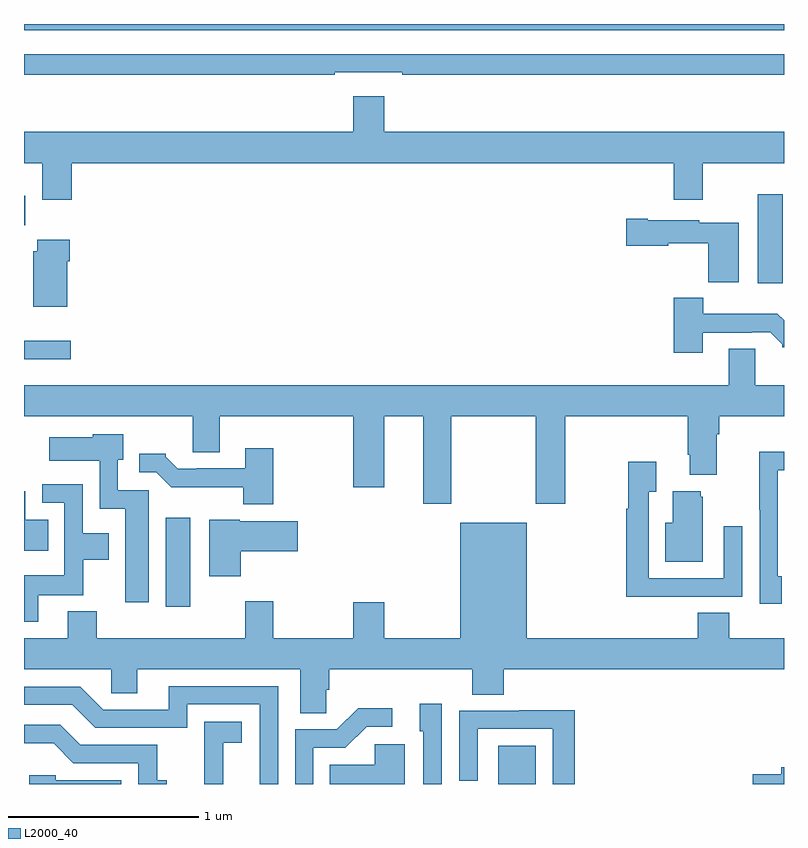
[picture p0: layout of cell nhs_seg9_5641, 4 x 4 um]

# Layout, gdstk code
import gdstk
lib = gdstk.Library(unit=1e-6, precision=1e-09)
def R(c, l, rs):  # rectangles x0, y0, x1, y1
    for r in rs: c.add(gdstk.rectangle(r[:2], r[2:], *l))
def P(c, l, *ps):  # polygons
    for p in ps: c.add(gdstk.Polygon(p, *l))
L2000_40 = (2000, 40)

nhs_seg9_5641 = lib.new_cell('nhs_seg9_5641')
R(nhs_seg9_5641, L2000_40, [(441.497,1178.5,441.694,1178.701), (439.745,1179.432,439.876,1179.901), (439,1180.736,439.246,1180.833), (442.862,1181.136,442.993,1181.605), (439,1181.442,439.006,1181.596), (439,1182.468,443,1182.5)])
P(nhs_seg9_5641, L2000_40, [(440.636,1182.246),(440.992,1182.246),(440.992,1182.234),(443,1182.234),(443,1182.342),(439,1182.342),(439,1182.234),(440.636,1182.234)],
  [(439.25,1181.768),(442.421,1181.768),(442.421,1181.574),(442.573,1181.574),(442.573,1181.768),(443,1181.768),(443,1181.932),(440.896,1181.932),(440.896,1182.121),(440.732,1182.121),(440.732,1181.932),(439,1181.932),(439,1181.768),(439.097,1181.768),(439.097,1181.574),(439.25,1181.574)],
  [(442.762,1181.455),(442.554,1181.455),(442.554,1181.467),(442.282,1181.467),(442.282,1181.475),(442.17,1181.475),(442.17,1181.333),(442.392,1181.333),(442.392,1181.345),(442.6,1181.345),(442.6,1181.141),(442.762,1181.141)],
  [(439.228,1181.252),(439.241,1181.252),(439.241,1181.365),(439.07,1181.365),(439.07,1181.304),(439.049,1181.304),(439.049,1181.012),(439.228,1181.012)],
  [(442.573,1180.875),(442.829,1180.875),(442.829,1180.878),(442.928,1180.878),(442.992,1180.814),(442.992,1180.799),(443,1180.799),(443,1180.94),(442.965,1180.975),(442.576,1180.975),(442.576,1181.059),(442.421,1181.059),(442.421,1180.77),(442.573,1180.77)],
  [(441.249,1180.436),(441.694,1180.436),(441.694,1179.975),(441.849,1179.975),(441.849,1180.436),(442.493,1180.436),(442.493,1180.234),(442.505,1180.234),(442.505,1180.127),(442.645,1180.127),(442.645,1180.34),(442.658,1180.34),(442.658,1180.436),(443,1180.436),(443,1180.6),(442.849,1180.6),(442.849,1180.79),(442.709,1180.79),(442.709,1180.6),(439,1180.6),(439,1180.436),(439.889,1180.436),(439.889,1180.246),(440.029,1180.246),(440.029,1180.436),(440.732,1180.436),(440.732,1180.062),(440.896,1180.062),(440.896,1180.436),(441.101,1180.436),(441.101,1179.975),(441.249,1179.975)],
  [(439.657,1180.047),(439.494,1180.047),(439.494,1180.206),(439.522,1180.206),(439.522,1180.342),(439.362,1180.342),(439.362,1180.324),(439.134,1180.324),(439.134,1180.202),(439.398,1180.202),(439.398,1179.95),(439.532,1179.95),(439.532,1179.456),(439.657,1179.456)],
  [(440.313,1180.267),(440.165,1180.267),(440.165,1180.161),(439.909,1180.161),(439.909,1180.158),(439.81,1180.158),(439.746,1180.222),(439.746,1180.237),(439.607,1180.237),(439.607,1180.14),(439.695,1180.14),(439.774,1180.062),(440.153,1180.062),(440.153,1179.972),(440.313,1179.972)],
  [(442.987,1179.594),(442.968,1179.594),(442.968,1180.152),(443,1180.152),(443,1180.25),(442.87,1180.25),(442.87,1179.943),(442.872,1179.943),(442.872,1179.45),(442.987,1179.45)],
  [(442.463,1179.486),(442.779,1179.486),(442.779,1179.856),(442.683,1179.856),(442.683,1179.582),(442.287,1179.582),(442.287,1180.039),(442.327,1180.039),(442.327,1180.195),(442.179,1180.195),(442.179,1179.95),(442.171,1179.95),(442.171,1179.485),(442.463,1179.485)],
  [(439.075,1179.494),(439.311,1179.494),(439.311,1179.68),(439.447,1179.68),(439.447,1179.82),(439.308,1179.82),(439.308,1180.077),(439.095,1180.077),(439.095,1179.981),(439.212,1179.981),(439.212,1179.598),(439,1179.598),(439,1179.354),(439.075,1179.354)],
  [(442.573,1180.011),(442.562,1180.011),(442.562,1180.042),(442.415,1180.042),(442.415,1179.874),(442.376,1179.874),(442.376,1179.671),(442.573,1179.671)],
  [(439.127,1179.892),(439.006,1179.892),(439.006,1180.042),(439,1180.042),(439,1179.728),(439.127,1179.728)],
  [(440.14,1179.725),(440.44,1179.725),(440.44,1179.883),(440.136,1179.883),(440.136,1179.892),(439.976,1179.892),(439.976,1179.594),(440.14,1179.594)],
  [(440.592,1178.995),(440.606,1178.995),(440.606,1179.104),(441.359,1179.104),(441.359,1178.971),(441.524,1178.971),(441.524,1179.104),(443,1179.104),(443,1179.268),(442.712,1179.268),(442.712,1179.401),(442.547,1179.401),(442.547,1179.268),(441.646,1179.268),(441.646,1179.874),(441.296,1179.874),(441.296,1179.268),(440.896,1179.268),(440.896,1179.457),(440.732,1179.457),(440.732,1179.268),(440.313,1179.268),(440.313,1179.463),(440.165,1179.463),(440.165,1179.268),(439.382,1179.268),(439.382,1179.409),(439.229,1179.409),(439.229,1179.268),(439,1179.268),(439,1179.104),(439.458,1179.104),(439.458,1178.977),(439.597,1178.977),(439.597,1179.104),(440.453,1179.104),(440.453,1178.872),(440.592,1178.872)],
  [(440.337,1179.015),(439.763,1179.015),(439.763,1178.892),(439.416,1178.892),(439.296,1179.012),(439,1179.012),(439,1178.916),(439.254,1178.916),(439.374,1178.796),(439.86,1178.796),(439.86,1178.919),(440.241,1178.919),(440.241,1178.5),(440.337,1178.5)],
  [(441.198,1178.923),(441.083,1178.923),(441.083,1178.778),(441.102,1178.778),(441.102,1178.5),(441.198,1178.5)],
  [(440.523,1178.691),(440.692,1178.691),(440.803,1178.802),(440.938,1178.802),(440.938,1178.9),(440.759,1178.9),(440.646,1178.787),(440.427,1178.787),(440.427,1178.5),(440.523,1178.5)],
  [(441.899,1178.888),(441.607,1178.888),(441.607,1178.886),(441.291,1178.886),(441.291,1178.517),(441.387,1178.517),(441.387,1178.79),(441.783,1178.79),(441.783,1178.5),(441.899,1178.5)],
  [(440.048,1178.717),(440.146,1178.717),(440.146,1178.827),(439.948,1178.827),(439.948,1178.621),(439.949,1178.621),(439.949,1178.5),(440.048,1178.5)],
  [(439.75,1178.521),(439.701,1178.521),(439.701,1178.706),(439.297,1178.706),(439.192,1178.811),(439,1178.811),(439,1178.714),(439.156,1178.714),(439.26,1178.61),(439.602,1178.61),(439.602,1178.5),(439.75,1178.5)],
  [(441.004,1178.71),(440.847,1178.71),(440.847,1178.602),(440.608,1178.602),(440.608,1178.5),(441.004,1178.5)],
  [(443,1178.588),(442.985,1178.588),(442.985,1178.552),(442.836,1178.552),(442.836,1178.5),(443,1178.5)],
  [(439.512,1178.52),(439.167,1178.52),(439.167,1178.547),(439.027,1178.547),(439.027,1178.5),(439.512,1178.5)])

lib.write_gds('nhs_seg9_5641.gds')
